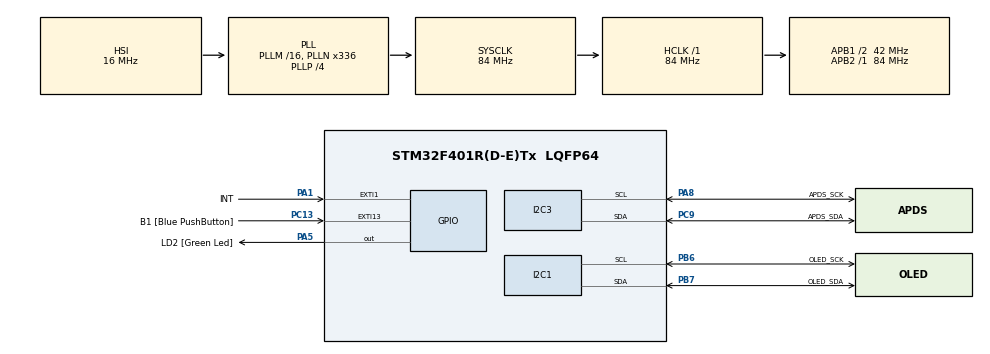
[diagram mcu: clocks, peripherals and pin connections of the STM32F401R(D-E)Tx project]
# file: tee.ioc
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I2C1.I2C_Mode=I2C_Fast
I2C3.I2C_Mode=I2C_Standard
Mcu.Family=STM32F4
Mcu.Name=STM32F401R(D-E)Tx
Mcu.Package=LQFP64
NVIC.EXTI1_IRQn=true\:0\:0\:false\:false\:true\:true\:true
NVIC.I2C1_ER_IRQn=true\:0\:0\:false\:false\:true\:true\:true
NVIC.I2C1_EV_IRQn=true\:0\:0\:false\:false\:true\:true\:true
NVIC.I2C3_ER_IRQn=true\:0\:0\:false\:false\:true\:true\:true
NVIC.I2C3_EV_IRQn=true\:0\:0\:false\:false\:true\:true\:true
NVIC.PriorityGroup=NVIC_PRIORITYGROUP_0
PA1.GPIO_Label=INT
PA1.Signal=GPXTI1
PA13.GPIO_Label=TMS
PA13.Signal=SYS_JTMS-SWDIO
PA14.GPIO_Label=TCK
PA14.Signal=SYS_JTCK-SWCLK
PA2.GPIO_Label=USART_TX
PA2.GPIO_Mode=GPIO_MODE_AF_PP
PA2.GPIO_PuPd=GPIO_NOPULL
PA2.GPIO_Speed=GPIO_SPEED_FREQ_LOW
PA2.Signal=USART2_TX
PA3.GPIO_Label=USART_RX
PA3.GPIO_Mode=GPIO_MODE_AF_PP
PA3.GPIO_PuPd=GPIO_NOPULL
PA3.GPIO_Speed=GPIO_SPEED_FREQ_LOW
PA3.Signal=USART2_RX
PA5.GPIO_Label=LD2 [Green Led]
PA5.GPIO_Mode=GPIO_MODE_OUTPUT_PP
PA5.GPIO_PuPd=GPIO_NOPULL
PA5.GPIO_Speed=GPIO_SPEED_FREQ_LOW
PA5.Signal=GPIO_Output
PA8.GPIO_Label=APDS_SCK
PA8.Mode=I2C
PA8.Signal=I2C3_SCL
PB3.Signal=SYS_JTDO-SWO
PB6.GPIO_Label=OLED_SCK
PB6.Mode=I2C
PB6.Signal=I2C1_SCL
PB7.GPIO_Label=OLED_SDA
PB7.Mode=I2C
PB7.Signal=I2C1_SDA
PC13-ANTI_TAMP.GPIO_Label=B1 [Blue PushButton]
PC13-ANTI_TAMP.GPIO_ModeDefaultEXTI=GPIO_MODE_IT_FALLING
PC13-ANTI_TAMP.GPIO_PuPd=GPIO_NOPULL
PC13-ANTI_TAMP.Signal=GPXTI13
PC14-OSC32_IN.Signal=RCC_OSC32_IN
PC15-OSC32_OUT.Signal=RCC_OSC32_OUT
PC9.GPIO_Label=APDS_SDA
PC9.Mode=I2C
PC9.Signal=I2C3_SDA
PH0\ -\ OSC_IN.Signal=RCC_OSC_IN
PH1\ -\ OSC_OUT.Signal=RCC_OSC_OUT
ProjectManager.HeapSize=0x200
ProjectManager.StackSize=0x400
ProjectManager.TargetToolchain=SW4STM32
RCC.AHBFreq_Value=84000000
RCC.APB1CLKDivider=RCC_HCLK_DIV2
RCC.APB1Freq_Value=42000000
RCC.APB1TimFreq_Value=84000000
RCC.APB2Freq_Value=84000000
RCC.APB2TimFreq_Value=84000000
RCC.CortexFreq_Value=84000000
RCC.HCLKFreq_Value=84000000
RCC.HSE_VALUE=8000000
RCC.HSI_VALUE=16000000
RCC.LSE_VALUE=32768
RCC.PLLN=336
RCC.PLLP=RCC_PLLP_DIV4
RCC.PLLQ=7
RCC.SYSCLKFreq_VALUE=84000000
RCC.SYSCLKSource=RCC_SYSCLKSOURCE_PLLCLK
RCC.VCOOutputFreq_Value=336000000
board=NUCLEO-F401RE

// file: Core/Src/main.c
/* USER CODE BEGIN Header */
/**
  ******************************************************************************
  * @file           : main.c
  * @brief          : Main program body
  ******************************************************************************
  * @attention
  *
  * <h2><center>&copy; Copyright (c) 2021 STMicroelectronics.
  * All rights reserved.</center></h2>
  *
  * This software component is licensed by ST under BSD 3-Clause license,
  * the "License"; You may not use this file except in compliance with the
  * License. You may obtain a copy of the License at:
  *                        opensource.org/licenses/BSD-3-Clause
  *
  ******************************************************************************
  */
/* USER CODE END Header */
#include "main.h"

/* USER CODE BEGIN Includes */
#include "fonts.h"
#include "apds9930.h"
#include "ssd1306.h"
#include "test.h"
#include "stdbool.h"
#include "stdint.h"
/* USER CODE END Includes */

I2C_HandleTypeDef hi2c1;
I2C_HandleTypeDef hi2c3;

/* USER CODE BEGIN PV */
uint8_t flag = 0;
/* USER CODE END PV */

void SystemClock_Config(void);
static void MX_GPIO_Init(void);
static void MX_I2C1_Init(void);
static void MX_I2C3_Init(void);

int main(void)
{

  /* MCU Configuration--------------------------------------------------------*/

  /* Reset of all peripherals, Initializes the Flash interface and the Systick. */
  HAL_Init();

  /* Configure the system clock */
  SystemClock_Config();

  /* Initialize all configured peripherals */
  MX_GPIO_Init();
  MX_I2C1_Init();
  MX_I2C3_Init();
  /* USER CODE BEGIN 2 */
  //initialize APDS, SSD and turn SSD on
  	SSD1306_Init();
  	APDS9930_Init();
  	SSD1306_ON();
  	uint16_t low, high;
  	low = 0;	  //the lower limit threshold wasn't used in this programm
  	high = 0x0f40; //arbitrary value
  	set_PIT(low, high);
  /* USER CODE END 2 */

  /* Infinite loop */
  /* USER CODE BEGIN WHILE */
while(1){
	HAL_Delay(1000);
	  if(flag==1){
		  interrup_treat();
		  flag = 0;
	  }
    /* USER CODE END WHILE */

	};
}

void SystemClock_Config(void)
{
  RCC_OscInitTypeDef RCC_OscInitStruct = {0};
  RCC_ClkInitTypeDef RCC_ClkInitStruct = {0};

  /** Configure the main internal regulator output voltage
  */
  __HAL_RCC_PWR_CLK_ENABLE();
  __HAL_PWR_VOLTAGESCALING_CONFIG(PWR_REGULATOR_VOLTAGE_SCALE2);
  /** Initializes the RCC Oscillators according to the specified parameters
  * in the RCC_OscInitTypeDef structure.
  */
  RCC_OscInitStruct.OscillatorType = RCC_OSCILLATORTYPE_HSI;
  RCC_OscInitStruct.HSIState = RCC_HSI_ON;
  RCC_OscInitStruct.HSICalibrationValue = RCC_HSICALIBRATION_DEFAULT;
  RCC_OscInitStruct.PLL.PLLState = RCC_PLL_ON;
  RCC_OscInitStruct.PLL.PLLSource = RCC_PLLSOURCE_HSI;
  RCC_OscInitStruct.PLL.PLLM = 16;
  RCC_OscInitStruct.PLL.PLLN = 336;
  RCC_OscInitStruct.PLL.PLLP = RCC_PLLP_DIV4;
  RCC_OscInitStruct.PLL.PLLQ = 7;
  if (HAL_RCC_OscConfig(&RCC_OscInitStruct) != HAL_OK)
  {
    Error_Handler();
  }
  /** Initializes the CPU, AHB and APB buses clocks
  */
  RCC_ClkInitStruct.ClockType = RCC_CLOCKTYPE_HCLK|RCC_CLOCKTYPE_SYSCLK
                              |RCC_CLOCKTYPE_PCLK1|RCC_CLOCKTYPE_PCLK2;
  RCC_ClkInitStruct.SYSCLKSource = RCC_SYSCLKSOURCE_PLLCLK;
  RCC_ClkInitStruct.AHBCLKDivider = RCC_SYSCLK_DIV1;
  RCC_ClkInitStruct.APB1CLKDivider = RCC_HCLK_DIV2;
  RCC_ClkInitStruct.APB2CLKDivider = RCC_HCLK_DIV1;

  if (HAL_RCC_ClockConfig(&RCC_ClkInitStruct, FLASH_LATENCY_2) != HAL_OK)
  {
    Error_Handler();
  }
}

static void MX_I2C1_Init(void)
{

  hi2c1.Instance = I2C1;
  hi2c1.Init.ClockSpeed = 400000;
  hi2c1.Init.DutyCycle = I2C_DUTYCYCLE_2;
  hi2c1.Init.OwnAddress1 = 0;
  hi2c1.Init.AddressingMode = I2C_ADDRESSINGMODE_7BIT;
  hi2c1.Init.DualAddressMode = I2C_DUALADDRESS_DISABLE;
  hi2c1.Init.OwnAddress2 = 0;
  hi2c1.Init.GeneralCallMode = I2C_GENERALCALL_DISABLE;
  hi2c1.Init.NoStretchMode = I2C_NOSTRETCH_DISABLE;
  if (HAL_I2C_Init(&hi2c1) != HAL_OK)
  {
    Error_Handler();
  }

}

static void MX_I2C3_Init(void)
{

  hi2c3.Instance = I2C3;
  hi2c3.Init.ClockSpeed = 100000;
  hi2c3.Init.DutyCycle = I2C_DUTYCYCLE_2;
  hi2c3.Init.OwnAddress1 = 0;
  hi2c3.Init.AddressingMode = I2C_ADDRESSINGMODE_7BIT;
  hi2c3.Init.DualAddressMode = I2C_DUALADDRESS_DISABLE;
  hi2c3.Init.OwnAddress2 = 0;
  hi2c3.Init.GeneralCallMode = I2C_GENERALCALL_DISABLE;
  hi2c3.Init.NoStretchMode = I2C_NOSTRETCH_DISABLE;
  if (HAL_I2C_Init(&hi2c3) != HAL_OK)
  {
    Error_Handler();
  }

}

static void MX_GPIO_Init(void)
{
  GPIO_InitTypeDef GPIO_InitStruct = {0};

  /* GPIO Ports Clock Enable */
  __HAL_RCC_GPIOC_CLK_ENABLE();
  __HAL_RCC_GPIOH_CLK_ENABLE();
  __HAL_RCC_GPIOA_CLK_ENABLE();
  __HAL_RCC_GPIOB_CLK_ENABLE();

  /*Configure GPIO pin Output Level */
  HAL_GPIO_WritePin(LD2_GPIO_Port, LD2_Pin, GPIO_PIN_RESET);

  /*Configure GPIO pin : B1_Pin */
  GPIO_InitStruct.Pin = B1_Pin;
  GPIO_InitStruct.Mode = GPIO_MODE_IT_FALLING;
  GPIO_InitStruct.Pull = GPIO_NOPULL;
  HAL_GPIO_Init(B1_GPIO_Port, &GPIO_InitStruct);

  /*Configure GPIO pin : INT_Pin */
  GPIO_InitStruct.Pin = INT_Pin;
  GPIO_InitStruct.Mode = GPIO_MODE_IT_RISING;
  GPIO_InitStruct.Pull = GPIO_NOPULL;
  HAL_GPIO_Init(INT_GPIO_Port, &GPIO_InitStruct);

  /*Configure GPIO pins : USART_TX_Pin USART_RX_Pin */
  GPIO_InitStruct.Pin = USART_TX_Pin|USART_RX_Pin;
  GPIO_InitStruct.Mode = GPIO_MODE_AF_PP;
  GPIO_InitStruct.Pull = GPIO_NOPULL;
  GPIO_InitStruct.Speed = GPIO_SPEED_FREQ_LOW;
  GPIO_InitStruct.Alternate = GPIO_AF7_USART2;
  HAL_GPIO_Init(GPIOA, &GPIO_InitStruct);

  /*Configure GPIO pin : LD2_Pin */
  GPIO_InitStruct.Pin = LD2_Pin;
  GPIO_InitStruct.Mode = GPIO_MODE_OUTPUT_PP;
  GPIO_InitStruct.Pull = GPIO_NOPULL;
  GPIO_InitStruct.Speed = GPIO_SPEED_FREQ_LOW;
  HAL_GPIO_Init(LD2_GPIO_Port, &GPIO_InitStruct);

  /* EXTI interrupt init*/
  HAL_NVIC_SetPriority(EXTI1_IRQn, 0, 0);
  HAL_NVIC_EnableIRQ(EXTI1_IRQn);

}

/* USER CODE BEGIN 4 */
void HAL_GPIO_EXTI_Callback(uint16_t GPIO_PIN){
	flag = 1;
}

/* USER CODE END 4 */

void Error_Handler(void)
{
  __disable_irq();
  while (1)
  {
  }
}

/************************ (C) COPYRIGHT STMicroelectronics *****END OF FILE****/
